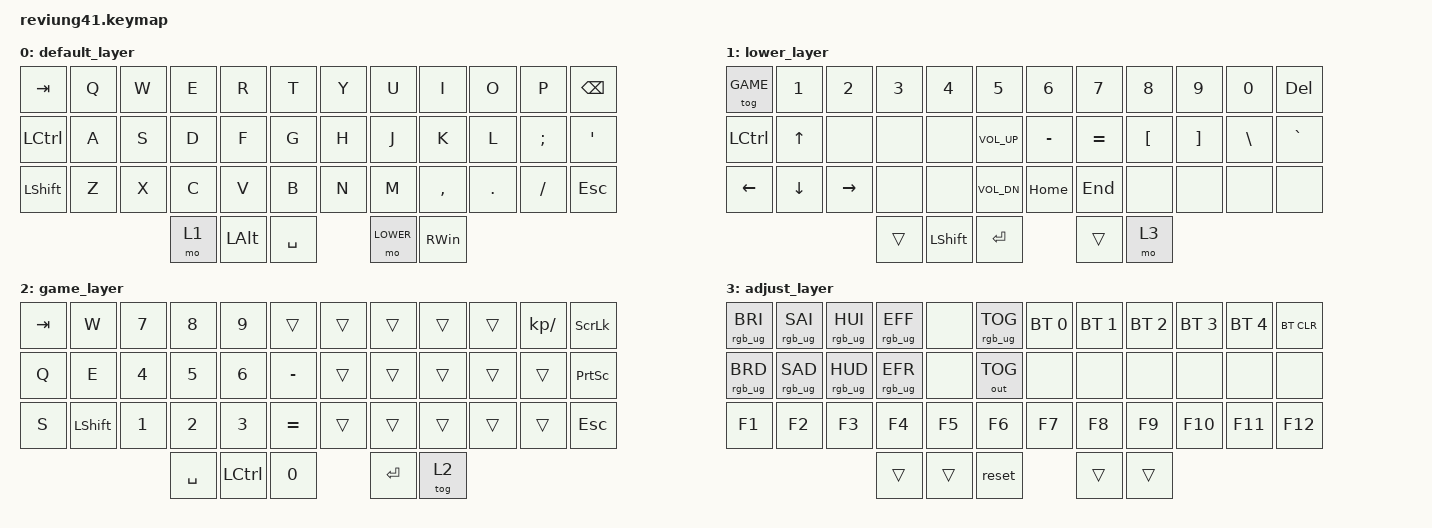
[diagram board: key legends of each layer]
/*
 * Copyright (c) 2020 The ZMK Contributors
 *
 * SPDX-License-Identifier: MIT
 */

#include <behaviors.dtsi>
#include <dt-bindings/zmk/keys.h>
#include <dt-bindings/zmk/bt.h>
#include <dt-bindings/zmk/rgb.h>
#include <dt-bindings/zmk/ext_power.h>
#include <dt-bindings/zmk/outputs.h>

#define DEFAULT 0
#define LOWER   1
#define GAME    2
#define ADJUST  3

/ {
        keymap {
                compatible = "zmk,keymap";

                default_layer {
// -------------------------------------------------------------------------------------
// |  TAB |  Q  |  W  |  E  |  R  |  T  |   |  Y  |  U   |  I  |  O  |  P  |   BKSP    |
// | CTRL |  A  |  S  |  D  |  F  |  G  |   |  H  |  J   |  K  |  L  |  ;  |    '      |
// | SHFT |  Z  |  X  |  C  |  V  |  B  |   |  N  |  M   |  ,  |  .  |  /  | ESC |
//                     | LAYER1 | ALT | SPACE | LOWER  | RWIN |
                        bindings = <
   &kp TAB   &kp Q &kp W &kp E &kp R &kp T   &kp Y &kp U  &kp I     &kp O   &kp P    &kp BSPC
   &kp LCTRL &kp A &kp S &kp D &kp F &kp G   &kp H &kp J  &kp K     &kp L   &kp SEMI &kp SQT
   &kp LSHFT &kp Z &kp X &kp C &kp V &kp B   &kp N &kp M  &kp COMMA &kp DOT &kp FSLH &kp ESC
                        &mo 1 &kp LALT &kp SPACE &mo LOWER &kp RWIN
                        >;
                };

                lower_layer {
// ----------------------------------------------------------------------------------
// | GAME |   1  |  2  |  3  |  4  |   5  |     |  6  |  7  |  8  |  9  |  0   | DEL  |
// | CTRL |  UP  |     |     |     | VOL^ |     | -_  |  =+ | '[{'| '[}'| '\|' | '`~' |
// | LEFT | DOWN |RIGHT|     |     | VOLv |     | HOME| END |     |     |      |      |
//                          |     | SHFT | ENTER |     | ADJ |
                        bindings = <
   &tog GAME &kp N1   &kp N2   &kp N3   &kp N4   &kp N5               &kp N6 &kp N7 &kp N8 &kp N9 &kp N0 &kp DEL
   &kp LCTRL &kp UP  &none &none &none &kp C_VOL_UP                &kp MINUS  &kp EQUAL &kp LBKT &kp RBKT &kp BSLH &kp GRAVE
   &kp LEFT &kp DOWN &kp RIGHT &none &none &kp C_VOL_DN            &kp HOME  &kp END  &none &none &none &none
                                     &trans &kp LSHFT   &kp RET    &trans    &mo 3
                        >;
                };

                game_layer {
// -----------------------------------------------------------------------------------------
// | TAB |  W  |  7  |  8  |  9  |     |     |     |     |     |     | NUM/| SLCK |
// |  Q  |  E  |  4  |  5  |  6  | MNS |     |     |     |     |     |     | PRTS |
// |  S  | SFT |  1  |  2  |  3  | EQL |     |     |     |     |     |     |  ESC |
//                        | SPC | CTRL |  0  | RET | TOG 2 |
                        bindings = <
   &kp TAB &kp W   &kp N7   &kp N8    &kp N9  &trans             &trans    &trans    &trans    &trans    &kp KP_SLASH    &kp SLCK
   &kp Q   &kp E   &kp N4   &kp N5    &kp N6  &kp MINUS          &trans    &trans    &trans    &trans    &trans    &kp PSCRN
   &kp S &kp LSHFT &kp N1   &kp N2    &kp N3  &kp EQUAL          &trans    &trans    &trans    &trans    &trans    &kp ESC
                        &kp SPACE      &kp LCTRL       &kp N0        &kp RET      &tog 2
                        >;
                };

                adjust_layer {
// -----------------------------------------------------------------------------------------
// | RGB BRI+ | RGB SAT+ | RGB HUE+ | RGB ANI+ |    | RGB TOG |   |  BT1  | BT2 | BT3 | BT4 | BT5 | BT CLR |
// | RGB BRI- | RGB SAT- | RGB HUE- | RGB ANI- |    | OUT TOG |   |       |     |     |     |     |        |
// |    F1    |    F2    |   F3     |   F4     | F5 |    F6   |   |  F7   | F8  | F9  | F10 | F11 |  F12   |
//                                              |     |     | RESET |     |     |
                        bindings = <
   &rgb_ug RGB_BRI &rgb_ug RGB_SAI &rgb_ug RGB_HUI &rgb_ug RGB_EFF &none &rgb_ug RGB_TOG    &bt BT_SEL 0 &bt BT_SEL 1 &bt BT_SEL 2 &bt BT_SEL 3 &bt BT_SEL 4 &bt BT_CLR
   &rgb_ug RGB_BRD &rgb_ug RGB_SAD &rgb_ug RGB_HUD &rgb_ug RGB_EFR &none &out OUT_TOG              &none        &none        &none        &none        &none        &none
   &kp F1          &kp F2          &kp F3          &kp F4          &kp F5 &kp F6            &kp F7       &kp F8       &kp F9       &kp F10      &kp F11      &kp F12
                                                             &trans      &trans       &reset        &trans      &trans
                        >;
                };
        };
};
